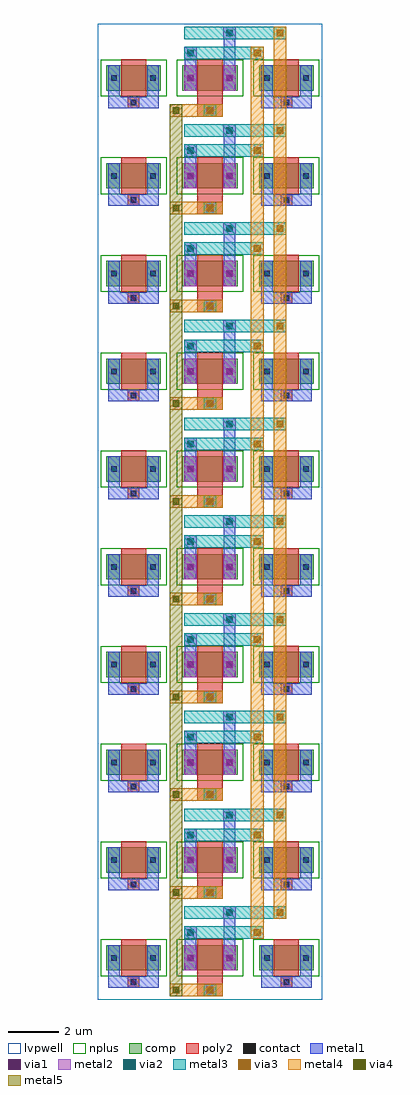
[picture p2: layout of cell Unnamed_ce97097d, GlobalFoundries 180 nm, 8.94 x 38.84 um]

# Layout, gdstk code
import gdstk
lib = gdstk.Library(unit=1e-6, precision=5e-09)
def R(c, l, rs):  # rectangles x0, y0, x1, y1
    for r in rs: c.add(gdstk.rectangle(r[:2], r[2:], *l))
def A(c, l, x, y, w, h, nx, ny, dx, dy):  # array of equal rectangles
    R(c, l, [(x+i*dx, y+j*dy, x+i*dx+w, y+j*dy+h) for i in range(nx) for j in range(ny)])
def P(c, l, *ps):  # polygons
    for p in ps: c.add(gdstk.Polygon(p, *l))
comp = (22, 0)
poly2 = (30, 0)
nplus = (32, 0)
contact = (33, 0)
metal1 = (34, 0)
via1 = (35, 0)
metal2 = (36, 0)
via2 = (38, 0)
via3 = (40, 0)
via4 = (41, 0)
metal3 = (42, 0)
metal4 = (46, 0)
metal5 = (81, 0)
lvpwell = (204, 0)

unnamed_ce97097d = lib.new_cell('Unnamed_ce97097d')
A(unnamed_ce97097d, comp, -4.12, -18.26, 2.16, 1, 1, 10, 0, 3.89)
A(unnamed_ce97097d, comp, -1.1, -18.26, 2.2, 1, 1, 10, 0, 3.89)
A(unnamed_ce97097d, comp, 1.96, -18.26, 2.16, 1, 1, 10, 0, 3.89)
A(unnamed_ce97097d, poly2, -0.5, -19.3, 1, 0.5, 1, 10, 0, 3.89)
A(unnamed_ce97097d, poly2, -0.18, -19.23, 0.36, 0.36, 1, 10, 0, 3.89)
A(unnamed_ce97097d, poly2, -3.27, -18.96, 0.46, 0.46, 1, 10, 0, 3.89)
A(unnamed_ce97097d, poly2, 2.81, -18.96, 0.46, 0.46, 1, 10, 0, 3.89)
A(unnamed_ce97097d, poly2, -3.22, -18.91, 0.36, 0.36, 1, 10, 0, 3.89)
A(unnamed_ce97097d, poly2, 2.86, -18.91, 0.36, 0.36, 1, 10, 0, 3.89)
A(unnamed_ce97097d, poly2, -0.5, -18.8, 1, 0.3, 1, 10, 0, 3.89)
A(unnamed_ce97097d, poly2, -3.54, -18.5, 1, 1.48, 3, 10, 3.04, 3.89)
A(unnamed_ce97097d, nplus, -4.35, -18.49, 2.62, 1.46, 1, 10, 0, 3.89)
A(unnamed_ce97097d, nplus, -1.33, -18.49, 2.66, 1.46, 1, 10, 0, 3.89)
A(unnamed_ce97097d, nplus, 1.73, -18.49, 2.62, 1.46, 1, 10, 0, 3.89)
A(unnamed_ce97097d, contact, -0.11, -19.16, 0.22, 0.22, 1, 10, 0, 3.89)
A(unnamed_ce97097d, contact, -3.15, -18.84, 0.22, 0.22, 1, 10, 0, 3.89)
A(unnamed_ce97097d, contact, 2.93, -18.84, 0.22, 0.22, 1, 10, 0, 3.89)
A(unnamed_ce97097d, contact, -3.93, -17.87, 0.22, 0.22, 1, 10, 0, 3.89)
A(unnamed_ce97097d, contact, -2.37, -17.87, 0.22, 0.22, 1, 10, 0, 3.89)
A(unnamed_ce97097d, contact, -0.89, -17.87, 0.22, 0.22, 1, 10, 0, 3.89)
A(unnamed_ce97097d, contact, 0.67, -17.87, 0.22, 0.22, 1, 10, 0, 3.89)
A(unnamed_ce97097d, contact, 2.15, -17.87, 0.22, 0.22, 1, 10, 0, 3.89)
A(unnamed_ce97097d, contact, 3.71, -17.87, 0.22, 0.22, 1, 10, 0, 3.89)
A(unnamed_ce97097d, metal1, -0.25, -19.3, 0.5, 0.5, 1, 10, 0, 3.89)
A(unnamed_ce97097d, metal1, -4.05, -18.96, 0.78, 0.46, 1, 10, 0, 3.89)
A(unnamed_ce97097d, metal1, -4.05, -18.96, 0.46, 0.7, 1, 10, 0, 3.89)
A(unnamed_ce97097d, metal1, -3.27, -18.96, 0.46, 0.46, 1, 10, 0, 3.89)
A(unnamed_ce97097d, metal1, -2.81, -18.96, 0.78, 0.46, 1, 10, 0, 3.89)
A(unnamed_ce97097d, metal1, -2.49, -18.96, 0.46, 0.7, 1, 10, 0, 3.89)
A(unnamed_ce97097d, metal1, 2.03, -18.96, 0.78, 0.46, 1, 10, 0, 3.89)
A(unnamed_ce97097d, metal1, 2.03, -18.96, 0.46, 0.7, 1, 10, 0, 3.89)
A(unnamed_ce97097d, metal1, 2.81, -18.96, 0.46, 0.46, 1, 10, 0, 3.89)
A(unnamed_ce97097d, metal1, 3.27, -18.96, 0.78, 0.46, 1, 10, 0, 3.89)
A(unnamed_ce97097d, metal1, 3.59, -18.96, 0.46, 0.7, 1, 10, 0, 3.89)
A(unnamed_ce97097d, metal1, -4.05, -18.26, 0.46, 1, 1, 10, 0, 3.89)
A(unnamed_ce97097d, metal1, -2.49, -18.26, 0.46, 1, 1, 10, 0, 3.89)
A(unnamed_ce97097d, metal1, -1.01, -18.26, 0.46, 1, 1, 10, 0, 3.89)
A(unnamed_ce97097d, metal1, 0.55, -18.26, 0.46, 1, 1, 10, 0, 3.89)
A(unnamed_ce97097d, metal1, 2.03, -18.26, 0.46, 1, 1, 10, 0, 3.89)
A(unnamed_ce97097d, metal1, 3.59, -18.26, 0.46, 1, 1, 10, 0, 3.89)
A(unnamed_ce97097d, metal1, -4.05, -17.99, 0.46, 0.46, 1, 10, 0, 3.89)
A(unnamed_ce97097d, metal1, -2.49, -17.99, 0.46, 0.46, 1, 10, 0, 3.89)
A(unnamed_ce97097d, metal1, -1.01, -17.99, 0.46, 0.46, 1, 10, 0, 3.89)
A(unnamed_ce97097d, metal1, 0.55, -17.99, 0.46, 0.46, 1, 10, 0, 3.89)
A(unnamed_ce97097d, metal1, 2.03, -17.99, 0.46, 0.46, 1, 10, 0, 3.89)
A(unnamed_ce97097d, metal1, 3.59, -17.99, 0.46, 0.46, 1, 10, 0, 3.89)
A(unnamed_ce97097d, metal1, -1.01, -17.26, 0.46, 0.75, 1, 10, 0, 3.89)
A(unnamed_ce97097d, metal1, 0.55, -17.26, 0.46, 1.55, 1, 10, 0, 3.89)
R(unnamed_ce97097d, metal1, [(-1.03,-18.01,-0.53,-17.51), (-1.03,-18.01,-0.53,-17.51), (0.53,-18.01,1.03,-17.51), (0.53,-18.01,1.03,-17.51), (-1.03,-17.01,-0.53,-16.51), (0.53,-16.21,1.03,-15.71), (-1.03,-14.12,-0.53,-13.62), (-1.03,-14.12,-0.53,-13.62), (0.53,-14.12,1.03,-13.62), (0.53,-14.12,1.03,-13.62), (-1.03,-13.12,-0.53,-12.62), (0.53,-12.32,1.03,-11.82), (-1.03,-10.23,-0.53,-9.73), (-1.03,-10.23,-0.53,-9.73), (0.53,-10.23,1.03,-9.73), (0.53,-10.23,1.03,-9.73), (-1.03,-9.23,-0.53,-8.73), (0.53,-8.43,1.03,-7.93), (-1.03,-6.34,-0.53,-5.84), (-1.03,-6.34,-0.53,-5.84), (0.53,-6.34,1.03,-5.84), (0.53,-6.34,1.03,-5.84), (-1.03,-5.34,-0.53,-4.84), (0.53,-4.54,1.03,-4.04), (-1.03,-2.45,-0.53,-1.95), (-1.03,-2.45,-0.53,-1.95), (0.53,-2.45,1.03,-1.95), (0.53,-2.45,1.03,-1.95), (-1.03,-1.45,-0.53,-0.95), (0.53,-0.65,1.03,-0.15), (-1.03,1.44,-0.53,1.94), (-1.03,1.44,-0.53,1.94), (0.53,1.44,1.03,1.94), (0.53,1.44,1.03,1.94), (-1.03,2.44,-0.53,2.94), (0.53,3.24,1.03,3.74), (-1.03,5.33,-0.53,5.83), (-1.03,5.33,-0.53,5.83), (0.53,5.33,1.03,5.83), (0.53,5.33,1.03,5.83), (-1.03,6.33,-0.53,6.83), (0.53,7.13,1.03,7.63), (-1.03,9.22,-0.53,9.72), (-1.03,9.22,-0.53,9.72), (0.53,9.22,1.03,9.72), (0.53,9.22,1.03,9.72), (-1.03,10.22,-0.53,10.72), (0.53,11.02,1.03,11.52), (-1.03,13.11,-0.53,13.61), (-1.03,13.11,-0.53,13.61), (0.53,13.11,1.03,13.61), (0.53,13.11,1.03,13.61), (-1.03,14.11,-0.53,14.61), (0.53,14.91,1.03,15.41), (-1.03,17,-0.53,17.5), (-1.03,17,-0.53,17.5), (0.53,17,1.03,17.5), (0.53,17,1.03,17.5), (-1.03,18,-0.53,18.5), (0.53,18.8,1.03,19.3)])
A(unnamed_ce97097d, via1, -0.13, -19.18, 0.26, 0.26, 1, 10, 0, 3.89)
R(unnamed_ce97097d, via1, [(-0.91,-17.89,-0.65,-17.63), (0.65,-17.89,0.91,-17.63), (-0.91,-16.89,-0.65,-16.63), (0.65,-16.09,0.91,-15.83), (-0.91,-14,-0.65,-13.74), (0.65,-14,0.91,-13.74), (-0.91,-13,-0.65,-12.74), (0.65,-12.2,0.91,-11.94), (-0.91,-10.11,-0.65,-9.85), (0.65,-10.11,0.91,-9.85), (-0.91,-9.11,-0.65,-8.85), (0.65,-8.31,0.91,-8.05), (-0.91,-6.22,-0.65,-5.96), (0.65,-6.22,0.91,-5.96), (-0.91,-5.22,-0.65,-4.96), (0.65,-4.42,0.91,-4.16), (-0.91,-2.33,-0.65,-2.07), (0.65,-2.33,0.91,-2.07), (-0.91,-1.33,-0.65,-1.07), (0.65,-0.53,0.91,-0.27), (-0.91,1.56,-0.65,1.82), (0.65,1.56,0.91,1.82), (-0.91,2.56,-0.65,2.82), (0.65,3.36,0.91,3.62), (-0.91,5.45,-0.65,5.71), (0.65,5.45,0.91,5.71), (-0.91,6.45,-0.65,6.71), (0.65,7.25,0.91,7.51), (-0.91,9.34,-0.65,9.6), (0.65,9.34,0.91,9.6), (-0.91,10.34,-0.65,10.6), (0.65,11.14,0.91,11.4), (-0.91,13.23,-0.65,13.49), (0.65,13.23,0.91,13.49), (-0.91,14.23,-0.65,14.49), (0.65,15.03,0.91,15.29), (-0.91,17.12,-0.65,17.38), (0.65,17.12,0.91,17.38), (-0.91,18.12,-0.65,18.38), (0.65,18.92,0.91,19.18)])
A(unnamed_ce97097d, metal2, -0.25, -19.3, 0.5, 0.5, 1, 10, 0, 3.89)
A(unnamed_ce97097d, metal2, -1.03, -18.26, 0.5, 1, 1, 10, 0, 3.89)
A(unnamed_ce97097d, metal2, 0.53, -18.26, 0.5, 1, 1, 10, 0, 3.89)
R(unnamed_ce97097d, metal2, [(-1.03,-18.01,-0.53,-17.51), (0.53,-18.01,1.03,-17.51), (-1.03,-17.01,-0.53,-16.51), (0.53,-16.21,1.03,-15.71), (-1.03,-14.12,-0.53,-13.62), (0.53,-14.12,1.03,-13.62), (-1.03,-13.12,-0.53,-12.62), (0.53,-12.32,1.03,-11.82), (-1.03,-10.23,-0.53,-9.73), (0.53,-10.23,1.03,-9.73), (-1.03,-9.23,-0.53,-8.73), (0.53,-8.43,1.03,-7.93), (-1.03,-6.34,-0.53,-5.84), (0.53,-6.34,1.03,-5.84), (-1.03,-5.34,-0.53,-4.84), (0.53,-4.54,1.03,-4.04), (-1.03,-2.45,-0.53,-1.95), (0.53,-2.45,1.03,-1.95), (-1.03,-1.45,-0.53,-0.95), (0.53,-0.65,1.03,-0.15), (-1.03,1.44,-0.53,1.94), (0.53,1.44,1.03,1.94), (-1.03,2.44,-0.53,2.94), (0.53,3.24,1.03,3.74), (-1.03,5.33,-0.53,5.83), (0.53,5.33,1.03,5.83), (-1.03,6.33,-0.53,6.83), (0.53,7.13,1.03,7.63), (-1.03,9.22,-0.53,9.72), (0.53,9.22,1.03,9.72), (-1.03,10.22,-0.53,10.72), (0.53,11.02,1.03,11.52), (-1.03,13.11,-0.53,13.61), (0.53,13.11,1.03,13.61), (-1.03,14.11,-0.53,14.61), (0.53,14.91,1.03,15.41), (-1.03,17,-0.53,17.5), (0.53,17,1.03,17.5), (-1.03,18,-0.53,18.5), (0.53,18.8,1.03,19.3)])
A(unnamed_ce97097d, via2, -0.13, -19.18, 0.26, 0.26, 1, 10, 0, 3.89)
A(unnamed_ce97097d, via2, -0.91, -16.89, 0.26, 0.26, 1, 10, 0, 3.89)
A(unnamed_ce97097d, via2, 0.65, -16.09, 0.26, 0.26, 1, 10, 0, 3.89)
A(unnamed_ce97097d, via3, -0.13, -19.18, 0.26, 0.26, 1, 10, 0, 3.89)
R(unnamed_ce97097d, via3, [(1.75,-16.89,2.01,-16.63), (2.65,-16.09,2.91,-15.83), (1.75,-13,2.01,-12.74), (1.75,-13,2.01,-12.74), (2.65,-12.2,2.91,-11.94), (2.65,-12.2,2.91,-11.94), (1.75,-9.11,2.01,-8.85), (1.75,-9.11,2.01,-8.85), (2.65,-8.31,2.91,-8.05), (2.65,-8.31,2.91,-8.05), (1.75,-5.22,2.01,-4.96), (1.75,-5.22,2.01,-4.96), (2.65,-4.42,2.91,-4.16), (2.65,-4.42,2.91,-4.16), (1.75,-1.33,2.01,-1.07), (1.75,-1.33,2.01,-1.07), (2.65,-0.53,2.91,-0.27), (2.65,-0.53,2.91,-0.27), (1.75,2.56,2.01,2.82), (1.75,2.56,2.01,2.82), (2.65,3.36,2.91,3.62), (2.65,3.36,2.91,3.62), (1.75,6.45,2.01,6.71), (1.75,6.45,2.01,6.71), (2.65,7.25,2.91,7.51), (2.65,7.25,2.91,7.51), (1.75,10.34,2.01,10.6), (1.75,10.34,2.01,10.6), (2.65,11.14,2.91,11.4), (2.65,11.14,2.91,11.4), (1.75,14.23,2.01,14.49), (1.75,14.23,2.01,14.49), (2.65,15.03,2.91,15.29), (2.65,15.03,2.91,15.29), (1.75,18.12,2.01,18.38), (2.65,18.92,2.91,19.18)])
R(unnamed_ce97097d, via4, [(-1.48,-19.18,-1.22,-18.92), (-1.48,-15.29,-1.22,-15.03), (-1.48,-15.29,-1.22,-15.03), (-1.48,-11.4,-1.22,-11.14), (-1.48,-11.4,-1.22,-11.14), (-1.48,-7.51,-1.22,-7.25), (-1.48,-7.51,-1.22,-7.25), (-1.48,-3.62,-1.22,-3.36), (-1.48,-3.62,-1.22,-3.36), (-1.48,0.27,-1.22,0.53), (-1.48,0.27,-1.22,0.53), (-1.48,4.16,-1.22,4.42), (-1.48,4.16,-1.22,4.42), (-1.48,8.05,-1.22,8.31), (-1.48,8.05,-1.22,8.31), (-1.48,11.94,-1.22,12.2), (-1.48,11.94,-1.22,12.2), (-1.48,15.83,-1.22,16.09)])
A(unnamed_ce97097d, metal3, -0.25, -19.3, 0.5, 0.5, 1, 10, 0, 3.89)
A(unnamed_ce97097d, metal3, -1.03, -17.01, 0.5, 0.5, 1, 10, 0, 3.89)
A(unnamed_ce97097d, metal3, 0.53, -16.21, 0.5, 0.5, 1, 10, 0, 3.89)
R(unnamed_ce97097d, metal3, [(-1.03,-17.01,1.03,-16.51), (1.03,-17.01,2.13,-16.51), (1.63,-17.01,2.13,-16.51), (-1.03,-16.21,1.03,-15.71), (1.03,-16.21,3.03,-15.71), (2.53,-16.21,3.03,-15.71), (-1.03,-13.12,1.03,-12.62), (1.03,-13.12,2.13,-12.62), (1.03,-13.12,2.13,-12.62), (1.63,-13.12,2.13,-12.62), (1.63,-13.12,2.13,-12.62), (-1.03,-12.32,1.03,-11.82), (1.03,-12.32,3.03,-11.82), (1.03,-12.32,3.03,-11.82), (2.53,-12.32,3.03,-11.82), (2.53,-12.32,3.03,-11.82), (-1.03,-9.23,1.03,-8.73), (1.03,-9.23,2.13,-8.73), (1.03,-9.23,2.13,-8.73), (1.63,-9.23,2.13,-8.73), (1.63,-9.23,2.13,-8.73), (-1.03,-8.43,1.03,-7.93), (1.03,-8.43,3.03,-7.93), (1.03,-8.43,3.03,-7.93), (2.53,-8.43,3.03,-7.93), (2.53,-8.43,3.03,-7.93), (-1.03,-5.34,1.03,-4.84), (1.03,-5.34,2.13,-4.84), (1.03,-5.34,2.13,-4.84), (1.63,-5.34,2.13,-4.84), (1.63,-5.34,2.13,-4.84), (-1.03,-4.54,1.03,-4.04), (1.03,-4.54,3.03,-4.04), (1.03,-4.54,3.03,-4.04), (2.53,-4.54,3.03,-4.04), (2.53,-4.54,3.03,-4.04), (-1.03,-1.45,1.03,-0.95), (1.03,-1.45,2.13,-0.95), (1.03,-1.45,2.13,-0.95), (1.63,-1.45,2.13,-0.95), (1.63,-1.45,2.13,-0.95), (-1.03,-0.65,1.03,-0.15), (1.03,-0.65,3.03,-0.15), (1.03,-0.65,3.03,-0.15), (2.53,-0.65,3.03,-0.15), (2.53,-0.65,3.03,-0.15), (-1.03,2.44,1.03,2.94), (1.03,2.44,2.13,2.94), (1.03,2.44,2.13,2.94), (1.63,2.44,2.13,2.94), (1.63,2.44,2.13,2.94), (-1.03,3.24,1.03,3.74), (1.03,3.24,3.03,3.74), (1.03,3.24,3.03,3.74), (2.53,3.24,3.03,3.74), (2.53,3.24,3.03,3.74), (-1.03,6.33,1.03,6.83), (1.03,6.33,2.13,6.83), (1.03,6.33,2.13,6.83), (1.63,6.33,2.13,6.83), (1.63,6.33,2.13,6.83), (-1.03,7.13,1.03,7.63), (1.03,7.13,3.03,7.63), (1.03,7.13,3.03,7.63), (2.53,7.13,3.03,7.63), (2.53,7.13,3.03,7.63), (-1.03,10.22,1.03,10.72), (1.03,10.22,2.13,10.72), (1.03,10.22,2.13,10.72), (1.63,10.22,2.13,10.72), (1.63,10.22,2.13,10.72), (-1.03,11.02,1.03,11.52), (1.03,11.02,3.03,11.52), (1.03,11.02,3.03,11.52), (2.53,11.02,3.03,11.52), (2.53,11.02,3.03,11.52), (-1.03,14.11,1.03,14.61), (1.03,14.11,2.13,14.61), (1.03,14.11,2.13,14.61), (1.63,14.11,2.13,14.61), (1.63,14.11,2.13,14.61), (-1.03,14.91,1.03,15.41), (1.03,14.91,3.03,15.41), (1.03,14.91,3.03,15.41), (2.53,14.91,3.03,15.41), (2.53,14.91,3.03,15.41), (-1.03,18,1.03,18.5), (1.03,18,2.13,18.5), (1.63,18,2.13,18.5), (-1.03,18.8,1.03,19.3), (1.03,18.8,3.03,19.3), (2.53,18.8,3.03,19.3)])
A(unnamed_ce97097d, metal4, -0.5, -19.3, 1, 0.5, 1, 10, 0, 3.89)
A(unnamed_ce97097d, metal4, -0.25, -19.3, 0.5, 0.5, 1, 10, 0, 3.89)
A(unnamed_ce97097d, metal4, 1.63, -17.01, 0.5, 4.39, 1, 9, 0, 3.89)
A(unnamed_ce97097d, metal4, 2.53, -16.21, 0.5, 4.39, 1, 9, 0, 3.89)
R(unnamed_ce97097d, metal4, [(-1.6,-19.3,-1.1,-18.8), (-1.6,-19.3,-0.5,-18.8), (1.63,-17.01,2.13,-16.51), (1.63,-17.01,2.13,-16.51), (2.53,-16.21,3.03,-15.71), (2.53,-16.21,3.03,-15.71), (-1.6,-15.41,-1.1,-14.91), (-1.6,-15.41,-1.1,-14.91), (-1.6,-15.41,-0.5,-14.91), (-1.6,-15.41,-0.5,-14.91), (1.63,-13.12,2.13,-12.62), (1.63,-13.12,2.13,-12.62), (1.63,-13.12,2.13,-12.62), (1.63,-13.12,2.13,-12.62), (2.53,-12.32,3.03,-11.82), (2.53,-12.32,3.03,-11.82), (2.53,-12.32,3.03,-11.82), (2.53,-12.32,3.03,-11.82), (-1.6,-11.52,-1.1,-11.02), (-1.6,-11.52,-1.1,-11.02), (-1.6,-11.52,-0.5,-11.02), (-1.6,-11.52,-0.5,-11.02), (1.63,-9.23,2.13,-8.73), (1.63,-9.23,2.13,-8.73), (1.63,-9.23,2.13,-8.73), (1.63,-9.23,2.13,-8.73), (2.53,-8.43,3.03,-7.93), (2.53,-8.43,3.03,-7.93), (2.53,-8.43,3.03,-7.93), (2.53,-8.43,3.03,-7.93), (-1.6,-7.63,-1.1,-7.13), (-1.6,-7.63,-1.1,-7.13), (-1.6,-7.63,-0.5,-7.13), (-1.6,-7.63,-0.5,-7.13), (1.63,-5.34,2.13,-4.84), (1.63,-5.34,2.13,-4.84), (1.63,-5.34,2.13,-4.84), (1.63,-5.34,2.13,-4.84), (2.53,-4.54,3.03,-4.04), (2.53,-4.54,3.03,-4.04), (2.53,-4.54,3.03,-4.04), (2.53,-4.54,3.03,-4.04), (-1.6,-3.74,-1.1,-3.24), (-1.6,-3.74,-1.1,-3.24), (-1.6,-3.74,-0.5,-3.24), (-1.6,-3.74,-0.5,-3.24), (1.63,-1.45,2.13,-0.95), (1.63,-1.45,2.13,-0.95), (1.63,-1.45,2.13,-0.95), (1.63,-1.45,2.13,-0.95), (2.53,-0.65,3.03,-0.15), (2.53,-0.65,3.03,-0.15), (2.53,-0.65,3.03,-0.15), (2.53,-0.65,3.03,-0.15), (-1.6,0.15,-1.1,0.65), (-1.6,0.15,-1.1,0.65), (-1.6,0.15,-0.5,0.65), (-1.6,0.15,-0.5,0.65), (1.63,2.44,2.13,2.94), (1.63,2.44,2.13,2.94), (1.63,2.44,2.13,2.94), (1.63,2.44,2.13,2.94), (2.53,3.24,3.03,3.74), (2.53,3.24,3.03,3.74), (2.53,3.24,3.03,3.74), (2.53,3.24,3.03,3.74), (-1.6,4.04,-1.1,4.54), (-1.6,4.04,-1.1,4.54), (-1.6,4.04,-0.5,4.54), (-1.6,4.04,-0.5,4.54), (1.63,6.33,2.13,6.83), (1.63,6.33,2.13,6.83), (1.63,6.33,2.13,6.83), (1.63,6.33,2.13,6.83), (2.53,7.13,3.03,7.63), (2.53,7.13,3.03,7.63), (2.53,7.13,3.03,7.63), (2.53,7.13,3.03,7.63), (-1.6,7.93,-1.1,8.43), (-1.6,7.93,-1.1,8.43), (-1.6,7.93,-0.5,8.43), (-1.6,7.93,-0.5,8.43), (1.63,10.22,2.13,10.72), (1.63,10.22,2.13,10.72), (1.63,10.22,2.13,10.72), (1.63,10.22,2.13,10.72), (2.53,11.02,3.03,11.52), (2.53,11.02,3.03,11.52), (2.53,11.02,3.03,11.52), (2.53,11.02,3.03,11.52), (-1.6,11.82,-1.1,12.32), (-1.6,11.82,-1.1,12.32), (-1.6,11.82,-0.5,12.32), (-1.6,11.82,-0.5,12.32), (1.63,14.11,2.13,14.61), (1.63,14.11,2.13,14.61), (1.63,14.11,2.13,14.61), (1.63,14.11,2.13,14.61), (2.53,14.91,3.03,15.41), (2.53,14.91,3.03,15.41), (2.53,14.91,3.03,15.41), (2.53,14.91,3.03,15.41), (-1.6,15.71,-1.1,16.21), (-1.6,15.71,-0.5,16.21), (1.63,18,2.13,18.5), (1.63,18,2.13,18.5), (2.53,18.8,3.03,19.3), (2.53,18.8,3.03,19.3)])
P(unnamed_ce97097d, metal4, [(3.03,14.91),(3.03,14.91),(3.03,15.41),(3.03,15.41)],
  [(3.03,18.8),(3.03,18.8),(3.03,19.3),(3.03,19.3)],
  [(2.13,14.11),(2.13,14.11),(2.13,14.61),(2.13,14.61)],
  [(2.13,18),(2.13,18),(2.13,18.5),(2.13,18.5)],
  [(3.03,11.02),(3.03,11.02),(3.03,11.52),(3.03,11.52)],
  [(3.03,14.91),(3.03,14.91),(3.03,15.41),(3.03,15.41)],
  [(2.13,10.22),(2.13,10.22),(2.13,10.72),(2.13,10.72)],
  [(2.13,14.11),(2.13,14.11),(2.13,14.61),(2.13,14.61)],
  [(3.03,7.13),(3.03,7.13),(3.03,7.63),(3.03,7.63)],
  [(3.03,11.02),(3.03,11.02),(3.03,11.52),(3.03,11.52)],
  [(2.13,6.33),(2.13,6.33),(2.13,6.83),(2.13,6.83)],
  [(2.13,10.22),(2.13,10.22),(2.13,10.72),(2.13,10.72)],
  [(3.03,3.24),(3.03,3.24),(3.03,3.74),(3.03,3.74)],
  [(3.03,7.13),(3.03,7.13),(3.03,7.63),(3.03,7.63)],
  [(2.13,2.44),(2.13,2.44),(2.13,2.94),(2.13,2.94)],
  [(2.13,6.33),(2.13,6.33),(2.13,6.83),(2.13,6.83)],
  [(3.03,-0.65),(3.03,-0.65),(3.03,-0.15),(3.03,-0.15)],
  [(3.03,3.24),(3.03,3.24),(3.03,3.74),(3.03,3.74)],
  [(2.13,-1.45),(2.13,-1.45),(2.13,-0.95),(2.13,-0.95)],
  [(2.13,2.44),(2.13,2.44),(2.13,2.94),(2.13,2.94)],
  [(3.03,-4.54),(3.03,-4.54),(3.03,-4.04),(3.03,-4.04)],
  [(3.03,-0.65),(3.03,-0.65),(3.03,-0.15),(3.03,-0.15)],
  [(2.13,-5.34),(2.13,-5.34),(2.13,-4.84),(2.13,-4.84)],
  [(2.13,-1.45),(2.13,-1.45),(2.13,-0.95),(2.13,-0.95)],
  [(3.03,-8.43),(3.03,-8.43),(3.03,-7.93),(3.03,-7.93)],
  [(3.03,-4.54),(3.03,-4.54),(3.03,-4.04),(3.03,-4.04)],
  [(2.13,-9.23),(2.13,-9.23),(2.13,-8.73),(2.13,-8.73)],
  [(2.13,-5.34),(2.13,-5.34),(2.13,-4.84),(2.13,-4.84)],
  [(3.03,-12.32),(3.03,-12.32),(3.03,-11.82),(3.03,-11.82)],
  [(3.03,-8.43),(3.03,-8.43),(3.03,-7.93),(3.03,-7.93)],
  [(2.13,-13.12),(2.13,-13.12),(2.13,-12.62),(2.13,-12.62)],
  [(2.13,-9.23),(2.13,-9.23),(2.13,-8.73),(2.13,-8.73)],
  [(3.03,-16.21),(3.03,-16.21),(3.03,-15.71),(3.03,-15.71)],
  [(3.03,-12.32),(3.03,-12.32),(3.03,-11.82),(3.03,-11.82)],
  [(2.13,-17.01),(2.13,-17.01),(2.13,-16.51),(2.13,-16.51)],
  [(2.13,-13.12),(2.13,-13.12),(2.13,-12.62),(2.13,-12.62)])
A(unnamed_ce97097d, metal5, -1.6, -19.3, 0.5, 4.39, 1, 9, 0, 3.89)
R(unnamed_ce97097d, metal5, [(-1.6,-19.3,-1.1,-18.8), (-1.6,-19.3,-1.1,-18.8), (-1.6,-15.41,-1.1,-14.91), (-1.6,-15.41,-1.1,-14.91), (-1.6,-15.41,-1.1,-14.91), (-1.6,-15.41,-1.1,-14.91), (-1.6,-11.52,-1.1,-11.02), (-1.6,-11.52,-1.1,-11.02), (-1.6,-11.52,-1.1,-11.02), (-1.6,-11.52,-1.1,-11.02), (-1.6,-7.63,-1.1,-7.13), (-1.6,-7.63,-1.1,-7.13), (-1.6,-7.63,-1.1,-7.13), (-1.6,-7.63,-1.1,-7.13), (-1.6,-3.74,-1.1,-3.24), (-1.6,-3.74,-1.1,-3.24), (-1.6,-3.74,-1.1,-3.24), (-1.6,-3.74,-1.1,-3.24), (-1.6,0.15,-1.1,0.65), (-1.6,0.15,-1.1,0.65), (-1.6,0.15,-1.1,0.65), (-1.6,0.15,-1.1,0.65), (-1.6,4.04,-1.1,4.54), (-1.6,4.04,-1.1,4.54), (-1.6,4.04,-1.1,4.54), (-1.6,4.04,-1.1,4.54), (-1.6,7.93,-1.1,8.43), (-1.6,7.93,-1.1,8.43), (-1.6,7.93,-1.1,8.43), (-1.6,7.93,-1.1,8.43), (-1.6,11.82,-1.1,12.32), (-1.6,11.82,-1.1,12.32), (-1.6,11.82,-1.1,12.32), (-1.6,11.82,-1.1,12.32), (-1.6,15.71,-1.1,16.21), (-1.6,15.71,-1.1,16.21)])
P(unnamed_ce97097d, metal5, [(-1.1,11.82),(-1.1,11.82),(-1.1,12.32),(-1.1,12.32)],
  [(-1.1,15.71),(-1.1,15.71),(-1.1,16.21),(-1.1,16.21)],
  [(-1.1,7.93),(-1.1,7.93),(-1.1,8.43),(-1.1,8.43)],
  [(-1.1,11.82),(-1.1,11.82),(-1.1,12.32),(-1.1,12.32)],
  [(-1.1,4.04),(-1.1,4.04),(-1.1,4.54),(-1.1,4.54)],
  [(-1.1,7.93),(-1.1,7.93),(-1.1,8.43),(-1.1,8.43)],
  [(-1.1,0.15),(-1.1,0.15),(-1.1,0.65),(-1.1,0.65)],
  [(-1.1,4.04),(-1.1,4.04),(-1.1,4.54),(-1.1,4.54)],
  [(-1.1,-3.74),(-1.1,-3.74),(-1.1,-3.24),(-1.1,-3.24)],
  [(-1.1,0.15),(-1.1,0.15),(-1.1,0.65),(-1.1,0.65)],
  [(-1.1,-7.63),(-1.1,-7.63),(-1.1,-7.13),(-1.1,-7.13)],
  [(-1.1,-3.74),(-1.1,-3.74),(-1.1,-3.24),(-1.1,-3.24)],
  [(-1.1,-11.52),(-1.1,-11.52),(-1.1,-11.02),(-1.1,-11.02)],
  [(-1.1,-7.63),(-1.1,-7.63),(-1.1,-7.13),(-1.1,-7.13)],
  [(-1.1,-15.41),(-1.1,-15.41),(-1.1,-14.91),(-1.1,-14.91)],
  [(-1.1,-11.52),(-1.1,-11.52),(-1.1,-11.02),(-1.1,-11.02)],
  [(-1.1,-19.3),(-1.1,-19.3),(-1.1,-18.8),(-1.1,-18.8)],
  [(-1.1,-15.41),(-1.1,-15.41),(-1.1,-14.91),(-1.1,-14.91)])
R(unnamed_ce97097d, lvpwell, [(-4.47,-19.42,4.47,19.42)])

lib.write_gds('Unnamed_ce97097d.gds')
